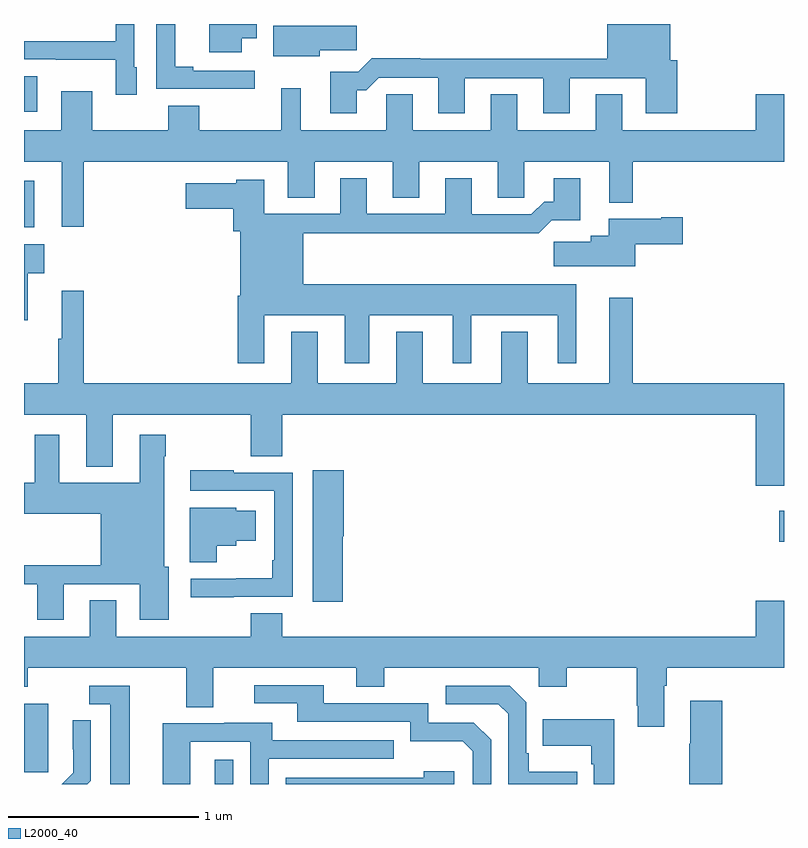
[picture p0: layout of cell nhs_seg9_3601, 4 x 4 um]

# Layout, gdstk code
import gdstk
lib = gdstk.Library(unit=1e-6, precision=1e-09)
def R(c, l, rs):  # rectangles x0, y0, x1, y1
    for r in rs: c.add(gdstk.rectangle(r[:2], r[2:], *l))
def P(c, l, *ps):  # polygons
    for p in ps: c.add(gdstk.Polygon(p, *l))
L2000_40 = (2000, 40)

nhs_seg9_3601 = lib.new_cell('nhs_seg9_3601')
R(nhs_seg9_3601, L2000_40, [(318.005,1170.5,318.102,1170.628), (317,1170.561,317.128,1170.922), (320.976,1171.774,321,1171.939), (317,1173.431,317.053,1173.676), (317,1174.038,317.071,1174.224), (317,1174.499,317.044,1174.5), (317.138,1174.499,317.377,1174.5)])
P(nhs_seg9_3601, L2000_40, [(318.145,1174.424),(318.226,1174.424),(318.226,1174.5),(317.975,1174.5),(317.975,1174.352),(318.145,1174.352)],
  [(317.593,1174.272),(317.58,1174.272),(317.58,1174.5),(317.484,1174.5),(317.484,1174.41),(317,1174.41),(317,1174.314),(317.167,1174.314),(317.167,1174.313),(317.484,1174.313),(317.484,1174.128),(317.593,1174.128)],
  [(318.751,1174.151),(318.8,1174.151),(318.867,1174.218),(319.181,1174.218),(319.181,1174.029),(319.321,1174.029),(319.321,1174.215),(319.733,1174.215),(319.733,1174.029),(319.873,1174.029),(319.873,1174.215),(320.273,1174.215),(320.273,1174.029),(320.438,1174.029),(320.438,1174.308),(320.401,1174.308),(320.401,1174.5),(320.069,1174.5),(320.069,1174.316),(319.085,1174.316),(319.085,1174.319),(318.83,1174.319),(318.76,1174.249),(318.611,1174.249),(318.611,1174.029),(318.751,1174.029)],
  [(318.214,1174.254),(317.89,1174.254),(317.89,1174.274),(317.795,1174.274),(317.795,1174.5),(317.697,1174.5),(317.697,1174.158),(318.214,1174.158)],
  [(318.556,1174.363),(318.751,1174.363),(318.751,1174.492),(318.312,1174.492),(318.312,1174.331),(318.556,1174.331)],
  [(317.315,1173.776),(318.389,1173.776),(318.389,1173.586),(318.529,1173.586),(318.529,1173.776),(318.941,1173.776),(318.941,1173.586),(319.081,1173.586),(319.081,1173.776),(319.493,1173.776),(319.493,1173.586),(319.632,1173.586),(319.632,1173.776),(320.081,1173.776),(320.081,1173.56),(320.203,1173.56),(320.203,1173.776),(321,1173.776),(321,1174.129),(320.852,1174.129),(320.852,1173.94),(320.149,1173.94),(320.149,1174.13),(320.009,1174.13),(320.009,1173.94),(319.597,1173.94),(319.597,1174.13),(319.457,1174.13),(319.457,1173.94),(319.045,1173.94),(319.045,1174.13),(318.906,1174.13),(318.906,1173.94),(318.457,1173.94),(318.457,1174.162),(318.353,1174.162),(318.353,1173.94),(317.923,1173.94),(317.923,1174.069),(317.759,1174.069),(317.759,1173.94),(317.359,1173.94),(317.359,1174.147),(317.195,1174.147),(317.195,1173.94),(317,1173.94),(317,1173.776),(317.198,1173.776),(317.198,1173.432),(317.315,1173.432)],
  [(318.265,1172.966),(318.689,1172.966),(318.689,1172.715),(318.817,1172.715),(318.817,1172.966),(319.256,1172.966),(319.256,1172.715),(319.354,1172.715),(319.354,1172.966),(319.808,1172.966),(319.808,1172.715),(319.906,1172.715),(319.906,1173.13),(318.469,1173.13),(318.469,1173.4),(319.453,1173.4),(319.453,1173.398),(319.709,1173.398),(319.778,1173.467),(319.927,1173.467),(319.927,1173.688),(319.787,1173.688),(319.787,1173.565),(319.738,1173.565),(319.671,1173.498),(319.357,1173.498),(319.357,1173.688),(319.217,1173.688),(319.217,1173.501),(318.805,1173.501),(318.805,1173.688),(318.665,1173.688),(318.665,1173.501),(318.265,1173.501),(318.265,1173.679),(318.117,1173.679),(318.117,1173.661),(317.85,1173.661),(317.85,1173.527),(318.101,1173.527),(318.101,1173.408),(318.137,1173.408),(318.137,1173.07),(318.125,1173.07),(318.125,1172.715),(318.265,1172.715)],
  [(320.218,1173.341),(320.467,1173.341),(320.467,1173.483),(320.354,1173.483),(320.354,1173.475),(320.078,1173.475),(320.078,1173.385),(319.982,1173.385),(319.982,1173.353),(319.788,1173.353),(319.788,1173.224),(320.218,1173.224)],
  [(317.021,1173.188),(317.107,1173.188),(317.107,1173.34),(317,1173.34),(317,1172.94),(317.021,1172.94)],
  [(319.511,1172.881),(319.511,1172.608),(319.099,1172.608),(319.099,1172.881),(318.959,1172.881),(318.959,1172.608),(318.547,1172.608),(318.547,1172.881),(318.407,1172.881),(318.407,1172.608),(317.315,1172.608),(317.315,1173.097),(317.198,1173.097),(317.198,1172.844),(317.179,1172.844),(317.179,1172.608),(317,1172.608),(317,1172.444),(317.327,1172.444),(317.327,1172.171),(317.467,1172.171),(317.467,1172.444),(318.193,1172.444),(318.193,1172.224),(318.359,1172.224),(318.359,1172.444),(320.852,1172.444),(320.852,1172.07),(321,1172.07),(321,1172.608),(320.203,1172.608),(320.203,1173.058),(320.081,1173.058),(320.081,1172.608),(319.651,1172.608),(319.651,1172.881)],
  [(317.209,1171.551),(317.609,1171.551),(317.609,1171.365),(317.761,1171.365),(317.761,1171.644),(317.737,1171.644),(317.737,1172.225),(317.745,1172.225),(317.745,1172.338),(317.609,1172.338),(317.609,1172.086),(317.185,1172.086),(317.185,1172.338),(317.057,1172.338),(317.057,1172.086),(317,1172.086),(317,1171.922),(317.405,1171.922),(317.405,1171.652),(317,1171.652),(317,1171.551),(317.069,1171.551),(317.069,1171.365),(317.209,1171.365)],
  [(318.104,1171.485),(318.414,1171.485),(318.414,1172.139),(318.104,1172.139),(318.104,1172.152),(317.874,1172.152),(317.874,1172.043),(318.318,1172.043),(318.318,1171.678),(318.306,1171.678),(318.306,1171.583),(318.117,1171.583),(318.117,1171.581),(317.877,1171.581),(317.877,1171.484),(318.104,1171.484)],
  [(318.677,1171.803),(318.682,1171.803),(318.682,1172.152),(318.521,1172.152),(318.521,1171.458),(318.677,1171.458)],
  [(318.015,1171.754),(318.117,1171.754),(318.117,1171.781),(318.22,1171.781),(318.22,1171.939),(318.117,1171.939),(318.117,1171.954),(317.873,1171.954),(317.873,1171.666),(318.015,1171.666)],
  [(320.371,1171.016),(320.384,1171.016),(320.384,1171.112),(321,1171.112),(321,1171.465),(320.852,1171.465),(320.852,1171.276),(318.359,1171.276),(318.359,1171.4),(318.193,1171.4),(318.193,1171.276),(317.485,1171.276),(317.485,1171.466),(317.345,1171.466),(317.345,1171.276),(317,1171.276),(317,1171.013),(317.019,1171.013),(317.019,1171.112),(317.855,1171.112),(317.855,1170.904),(317.995,1170.904),(317.995,1171.112),(318.749,1171.112),(318.749,1171.013),(318.897,1171.013),(318.897,1171.112),(319.71,1171.112),(319.71,1171.013),(319.857,1171.013),(319.857,1171.112),(320.224,1171.112),(320.224,1170.913),(320.231,1170.913),(320.231,1170.801),(320.371,1170.801)],
  [(319.458,1170.732),(319.368,1170.822),(319.128,1170.822),(319.128,1170.924),(318.577,1170.924),(318.577,1171.02),(318.213,1171.02),(318.213,1170.924),(318.437,1170.924),(318.437,1170.828),(319.032,1170.828),(319.032,1170.725),(319.309,1170.725),(319.362,1170.672),(319.362,1170.5),(319.458,1170.5)],
  [(319.913,1170.565),(319.657,1170.565),(319.657,1170.661),(319.644,1170.661),(319.644,1170.93),(319.557,1171.017),(319.221,1171.017),(319.221,1170.921),(319.497,1170.921),(319.548,1170.87),(319.548,1170.5),(319.913,1170.5)],
  [(317.557,1171.017),(317.343,1171.017),(317.343,1170.921),(317.453,1170.921),(317.453,1170.5),(317.557,1170.5)],
  [(320.675,1170.937),(320.507,1170.937),(320.507,1170.713),(320.5,1170.713),(320.5,1170.5),(320.675,1170.5)],
  [(320.107,1170.841),(319.729,1170.841),(319.729,1170.701),(319.986,1170.701),(319.986,1170.605),(319.998,1170.605),(319.998,1170.5),(320.107,1170.5)],
  [(317.352,1170.518),(317.352,1170.836),(317.256,1170.836),(317.256,1170.682),(317.258,1170.682),(317.258,1170.56),(317.198,1170.5),(317.334,1170.5)],
  [(317.874,1170.723),(318.192,1170.723),(318.192,1170.5),(318.288,1170.5),(318.288,1170.633),(318.947,1170.633),(318.947,1170.729),(318.307,1170.729),(318.307,1170.823),(318.053,1170.823),(318.053,1170.819),(317.729,1170.819),(317.729,1170.5),(317.874,1170.5)],
  [(319.264,1170.568),(319.103,1170.568),(319.103,1170.534),(318.378,1170.534),(318.378,1170.5),(319.264,1170.5)])

lib.write_gds('nhs_seg9_3601.gds')
